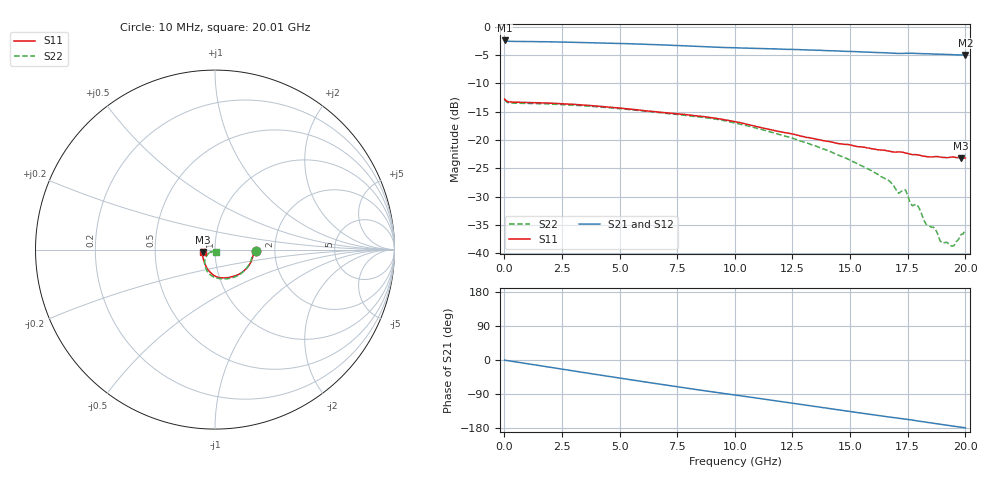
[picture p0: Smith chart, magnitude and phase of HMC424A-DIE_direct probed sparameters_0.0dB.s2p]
!s2p File: Measurements: S11, S21, S12, S22
# GHz S dB R 50.0
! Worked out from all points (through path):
!   201 points, 10 MHz to 20.01 GHz, reference 50 ohm
!   highest |S21| = -2.39 dB at 10 MHz (marker M1); lowest = -5.0 dB at 20.01 GHz (marker M2)
!   group delay of S21, straight-line fit = 24.6 ps
!   lowest |S11| = -23.2 dB at 19.81 GHz (marker M3), VSWR 1.15, Z = 43.6 - j1.14 ohm
!   |S11| at or under -10 dB: start of sweep to end of sweep
!   |S22| runs from -38.8 to -12.9 dB; largest |S21 - S12| = 0.0046
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0.01  -12.75 -1.4  -2.39 -0.5  -2.39 -0.5  -12.86 -1.5
0.21  -13.25 -2.9  -2.54 -2.3  -2.54 -2.3  -13.43 -3.3
1.71  -13.43 -15.9  -2.62 -16.6  -2.61 -16.6  -13.59 -18.3
3.41  -13.81 -31.4  -2.75 -32.8  -2.75 -32.8  -13.94 -36.1
5.11  -14.38 -46.5  -2.93 -48.7  -2.93 -48.7  -14.49 -53.2
6.71  -15.06 -60.1  -3.15 -63.5  -3.15 -63.5  -15.14 -68.4
8.31  -15.72 -74.2  -3.42 -77.9  -3.43 -77.8  -15.85 -83.6
10.01  -16.75 -91.7  -3.68 -92.4  -3.69 -92.3  -16.96 -101.1
13.41  -19.72 -120.6  -4.09 -122.0  -4.11 -121.9  -20.95 -129.8
14.91  -20.77 -132.1  -4.32 -135.1  -4.32 -134.9  -23.36 -139.8
16.71  -21.96 -147.6  -4.60 -150.4  -4.59 -150.3  -27.23 -148.7
17.11  -22.10 -149.5  -4.69 -153.6  -4.63 -153.7  -29.42 -147.0
17.41  -22.28 -153.4  -4.66 -156.0  -4.68 -156.3  -28.81 -149.7
17.61  -22.50 -154.4  -4.65 -157.7  -4.69 -158.0  -31.05 -151.9
17.71  -22.59 -154.5  -4.65 -158.7  -4.70 -158.8  -31.62 -145.2
17.91  -22.60 -155.4  -4.69 -160.6  -4.72 -160.5  -31.41 -145.6
18.31  -22.91 -159.3  -4.73 -164.2  -4.77 -164.0  -34.92 -141.0
18.71  -22.92 -161.5  -4.81 -167.6  -4.81 -167.4  -35.76 -130.0
19.01  -23.07 -164.5  -4.83 -170.3  -4.85 -170.2  -38.22 -116.2
19.51  -22.99 -167.2  -4.92 -174.8  -4.91 -174.5  -38.71 -85.0
19.81  -23.23 -169.1  -4.95 -177.3  -4.96 -177.2  -36.74 -71.2
20.01  -23.18 -169.4  -4.98 -179.1  -4.97 -178.9  -35.86 -63.1
